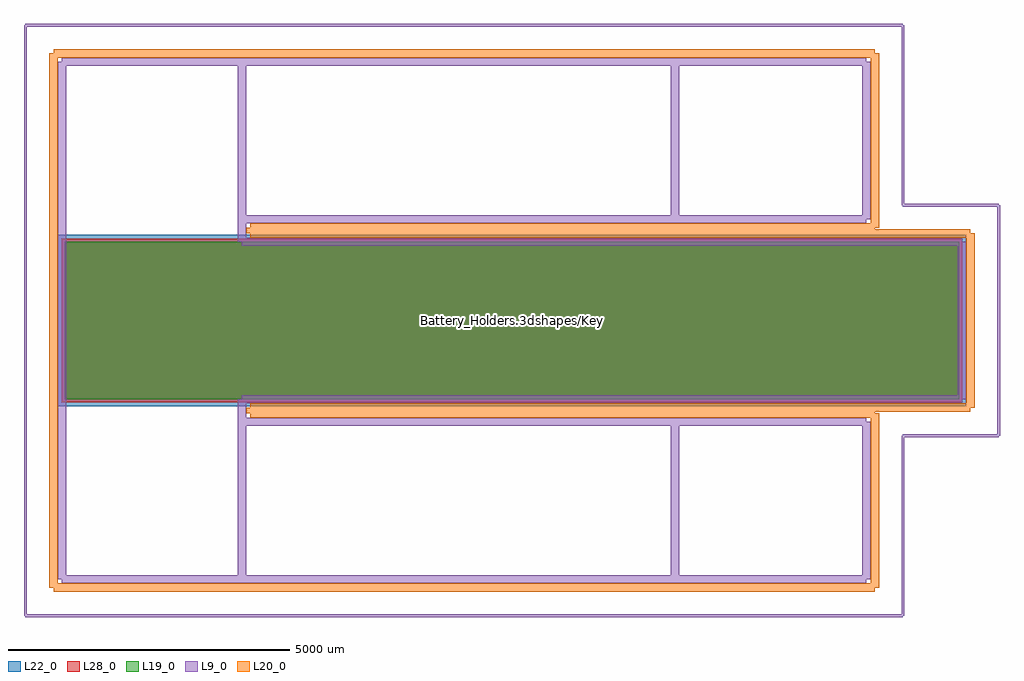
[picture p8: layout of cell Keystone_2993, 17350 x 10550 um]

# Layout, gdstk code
import gdstk
lib = gdstk.Library(unit=1e-6, precision=1e-09)
def R(c, l, rs):  # rectangles x0, y0, x1, y1
    for r in rs: c.add(gdstk.rectangle(r[:2], r[2:], *l))
L9_0 = (9, 0)
L19_0 = (19, 0)
L20_0 = (20, 0)
L22_0 = (22, 0)
L28_0 = (28, 0)

keystone_2993 = lib.new_cell('Keystone_2993')
R(keystone_2993, L19_0, [(-7950,-1400,7950,1400)])
R(keystone_2993, L22_0, [(-8075,-1525,8075,1525)])
R(keystone_2993, L28_0, [(-8000,-1450,8000,1450)])
keystone_2993.add(gdstk.FlexPath([(-8000,4600),(-8000,-4600)], 149.998, ends="flush", simple_path=True, layer=9, datatype=0))  # L9_0
keystone_2993.add(gdstk.FlexPath([(8000,-1400),(-4800,-1400)], 149.998, ends="flush", simple_path=True, layer=9, datatype=0))  # L9_0
keystone_2993.add(gdstk.FlexPath([(8000,1400),(8000,-1400)], 149.998, ends="flush", simple_path=True, layer=9, datatype=0))  # L9_0
keystone_2993.add(gdstk.FlexPath([(-4800,1400),(8000,1400)], 149.998, ends="flush", simple_path=True, layer=9, datatype=0))  # L9_0
keystone_2993.add(gdstk.FlexPath([(6300,4600),(6300,1800)], 149.998, ends="flush", simple_path=True, layer=9, datatype=0))  # L9_0
keystone_2993.add(gdstk.FlexPath([(6300,1800),(-4800,1800)], 149.998, ends="flush", simple_path=True, layer=9, datatype=0))  # L9_0
keystone_2993.add(gdstk.FlexPath([(-8000,4600),(6300,4600)], 149.998, ends="flush", simple_path=True, layer=9, datatype=0))  # L9_0
keystone_2993.add(gdstk.FlexPath([(6300,-4600),(-8000,-4600)], 149.998, ends="flush", simple_path=True, layer=9, datatype=0))  # L9_0
keystone_2993.add(gdstk.FlexPath([(6300,-1800),(-4800,-1800)], 149.998, ends="flush", simple_path=True, layer=9, datatype=0))  # L9_0
keystone_2993.add(gdstk.FlexPath([(6300,-4600),(6300,-1800)], 149.998, ends="flush", simple_path=True, layer=9, datatype=0))  # L9_0
keystone_2993.add(gdstk.FlexPath([(2900,-1800),(2900,-4600)], 149.998, ends="flush", simple_path=True, layer=9, datatype=0))  # L9_0
keystone_2993.add(gdstk.FlexPath([(2900,1800),(2900,4600)], 149.998, ends="flush", simple_path=True, layer=9, datatype=0))  # L9_0
keystone_2993.add(gdstk.FlexPath([(-4800,1400),(-4800,4600)], 149.998, ends="flush", simple_path=True, layer=9, datatype=0))  # L9_0
keystone_2993.add(gdstk.FlexPath([(-4800,-1400),(-4800,-4600)], 149.998, ends="flush", simple_path=True, layer=9, datatype=0))  # L9_0
keystone_2993.add(gdstk.FlexPath([(-8150,4750),(-8150,-4750)], 149.998, ends="flush", simple_path=True, layer=20, datatype=0))  # L20_0
keystone_2993.add(gdstk.FlexPath([(-8150,4750),(6450,4750)], 149.998, ends="flush", simple_path=True, layer=20, datatype=0))  # L20_0
keystone_2993.add(gdstk.FlexPath([(6450,4750),(6450,1650)], 149.998, ends="flush", simple_path=True, layer=20, datatype=0))  # L20_0
keystone_2993.add(gdstk.FlexPath([(-8150,-4750),(6450,-4750)], 149.998, ends="flush", simple_path=True, layer=20, datatype=0))  # L20_0
keystone_2993.add(gdstk.FlexPath([(6450,1650),(-4650,1650)], 149.998, ends="flush", simple_path=True, layer=20, datatype=0))  # L20_0
keystone_2993.add(gdstk.FlexPath([(6450,-1650),(-4650,-1650)], 149.998, ends="flush", simple_path=True, layer=20, datatype=0))  # L20_0
keystone_2993.add(gdstk.FlexPath([(6450,-4750),(6450,-1650)], 149.998, ends="flush", simple_path=True, layer=20, datatype=0))  # L20_0
keystone_2993.add(gdstk.FlexPath([(-4650,1550),(8150,1550)], 149.998, ends="flush", simple_path=True, layer=20, datatype=0))  # L20_0
keystone_2993.add(gdstk.FlexPath([(-4650,-1550),(8150,-1550)], 149.998, ends="flush", simple_path=True, layer=20, datatype=0))  # L20_0
keystone_2993.add(gdstk.FlexPath([(-4650,1650),(-4650,1550)], 149.998, ends="flush", simple_path=True, layer=20, datatype=0))  # L20_0
keystone_2993.add(gdstk.FlexPath([(-4650,-1650),(-4650,-1550)], 149.998, ends="flush", simple_path=True, layer=20, datatype=0))  # L20_0
keystone_2993.add(gdstk.FlexPath([(8150,1550),(8150,-1550)], 149.998, ends="flush", simple_path=True, layer=20, datatype=0))  # L20_0
keystone_2993.add(gdstk.FlexPath([(-8650,-5250),(6950,-5250)], 50, ends="flush", simple_path=True, layer=9, datatype=0))  # L9_0
keystone_2993.add(gdstk.FlexPath([(-8650,5250),(6950,5250)], 50, ends="flush", simple_path=True, layer=9, datatype=0))  # L9_0
keystone_2993.add(gdstk.FlexPath([(-8650,5250),(-8650,-5250)], 50, ends="flush", simple_path=True, layer=9, datatype=0))  # L9_0
keystone_2993.add(gdstk.FlexPath([(6950,-5250),(6950,-2050)], 50, ends="flush", simple_path=True, layer=9, datatype=0))  # L9_0
keystone_2993.add(gdstk.FlexPath([(6950,5250),(6950,2050)], 50, ends="flush", simple_path=True, layer=9, datatype=0))  # L9_0
keystone_2993.add(gdstk.FlexPath([(6950,2050),(8650,2050)], 50, ends="flush", simple_path=True, layer=9, datatype=0))  # L9_0
keystone_2993.add(gdstk.FlexPath([(6950,-2050),(8650,-2050)], 50, ends="flush", simple_path=True, layer=9, datatype=0))  # L9_0
keystone_2993.add(gdstk.FlexPath([(8650,2050),(8650,-2050)], 50, ends="flush", simple_path=True, layer=9, datatype=0))  # L9_0
keystone_2993.add(gdstk.Label('Battery_Holders.3dshapes/Keystone_2993.wrl', (0,0), layer=12, texttype=0))
keystone_2993.add(gdstk.Label('1', (0,0), layer=28, texttype=0))
keystone_2993.add(gdstk.Label('type', (0,-6000), layer=9, texttype=0))
keystone_2993.add(gdstk.Label('devicename', (0,6000), layer=9, texttype=0))

lib.write_gds('Keystone_2993.gds')
